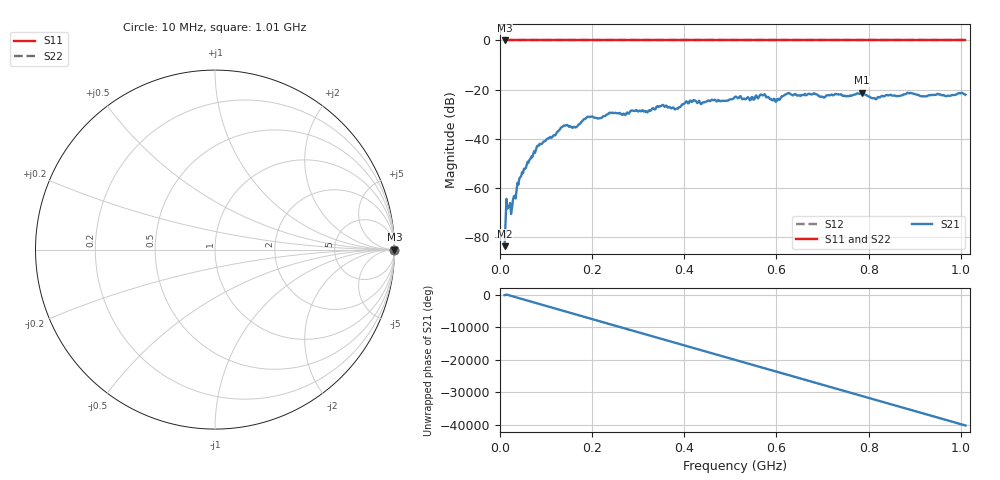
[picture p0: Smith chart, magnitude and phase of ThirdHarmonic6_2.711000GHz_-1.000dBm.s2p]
! 8/17/2025 6:33:13 AM
! C:\ANRITSUVNA\TEMP\TEMP.S2P
! CHANNEL.1
! TR.MEASUREMENT
! RAW.DATA
! RF.CORRECTION.OFF
! AVERAGING.OFF
! IF.BANDWIDTH: 5KHZ
! SWEEPTYPE:  FREQ.SWEEP(Linear)
! Reference Plane Port Info
! PORT:  PORT1  PORT2
! DISTANCE:  0  m  0  m
! TIME:  0  s  0  s
! PHASE.OFFSET:  0  deg.  0  deg.
! LOSS:  0  dB  0  dB
! REF.LOSS:  0  dB  0  dB
! REF.FREQ:  0  Hz  0  Hz
! Power Info
! POWER:  -20  dBm  -20  dBm
! EFF.POWER:  -20  dBm  -20  dBm
! SOURCE.ATTEN:  0  dB  0  dB
! TEST.ATTEN:  0  dB  0  dB
# GHZ S RI R 50.0
! FREQ.GHZ  S11RE  S11IM  S21RE  S21IM  S12RE  S12IM  S22RE  S22IM
!; PortSelection: Port_12
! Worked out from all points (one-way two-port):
!   501 points, 10 MHz to 1.01 GHz, reference 50 ohm
!   highest |S21| = -21.22 dB at 786 MHz (marker M1); lowest = -83.6 dB at 10 MHz (marker M2)
!   lowest |S11| = 0.0 dB at 10 MHz (marker M3)
!   |S11| at or under -10 dB: nowhere
!   |S22| runs from 0.0 to 0.0 dB; largest |S21 - S12| = 1.1
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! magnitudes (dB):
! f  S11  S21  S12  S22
! 10 MHz  0.0  -83.6  0.0  0.0
! 18 MHz  0.0  -67.7  0.0  0.0
! 22 MHz  0.0  -66.0  0.0  0.0
! 28 MHz  0.0  -64.9  0.0  0.0
! 46 MHz  0.0  -55.2  0.0  0.0
! 82 MHz  0.0  -42.8  0.0  0.0
! 136 MHz  0.0  -35.0  0.0  0.0
! 162 MHz  0.0  -35.1  0.0  0.0
! 178 MHz  0.0  -32.8  0.0  0.0
! 344 MHz  0.0  -27.1  0.0  0.0
! 382 MHz  0.0  -27.8  0.0  0.0
! 416 MHz  0.0  -25.0  0.0  0.0
! 510 MHz  0.0  -22.9  0.0  0.0
! 570 MHz  0.0  -22.3  0.0  0.0
! 602 MHz  0.0  -23.8  0.0  0.0
! 624 MHz  0.0  -21.6  0.0  0.0
! 678 MHz  0.0  -21.9  0.0  0.0
! 700 MHz  0.0  -22.9  0.0  0.0
! 786 MHz  0.0  -21.2  0.0  0.0
! 812 MHz  0.0  -23.4  0.0  0.0
! 844 MHz  0.0  -22.3  0.0  0.0
! 1.01 GHz  0.0  -22.1  0.0  0.0
